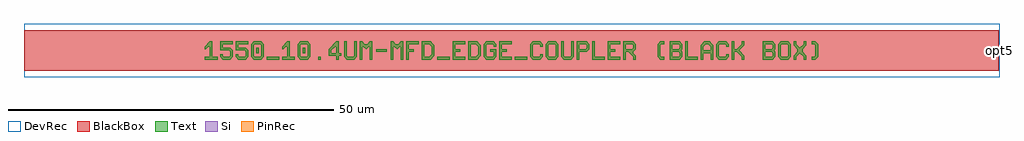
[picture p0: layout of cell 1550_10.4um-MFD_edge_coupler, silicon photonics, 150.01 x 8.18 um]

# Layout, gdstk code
import gdstk
lib = gdstk.Library(unit=1e-6, precision=1e-09)
def R(c, l, rs):  # rectangles x0, y0, x1, y1
    for r in rs: c.add(gdstk.rectangle(r[:2], r[2:], *l))
def P(c, l, *ps):  # polygons
    for p in ps: c.add(gdstk.Polygon(p, *l))
Si = (1, 0)
PinRec = (1, 10)
Text = (10, 0)
DevRec = (68, 0)
BlackBox = (998, 0)

text = lib.new_cell('TEXT')
R(text, Text, [(9.528,0,11.513,0.397), (17.468,0,17.865,0.397), (35.73,0,37.715,0.397), (47.64,0,49.625,0.397), (7.94,0.993,8.337,1.787), (15.086,0.993,15.483,1.787), (26.401,1.191,27.989,1.588)])
P(text, Text, [(0,0),(0,0.397),(0.794,0.397),(0.794,1.985),(0.596,1.985),(0.199,1.588),(0,1.588),(0,1.985),(0.794,2.779),(1.191,2.779),(1.191,0.397),(1.985,0.397),(1.985,0)],
  [(2.779,0),(2.382,0.397),(2.382,0.794),(2.779,0.794),(2.779,0.596),(2.978,0.397),(3.772,0.397),(3.97,0.596),(3.97,1.191),(3.772,1.39),(2.382,1.39),(2.382,2.779),(4.367,2.779),(4.367,2.382),(2.779,2.382),(2.779,1.787),(3.97,1.787),(4.367,1.39),(4.367,0.397),(3.97,0)],
  [(5.161,0),(4.764,0.397),(4.764,0.794),(5.161,0.794),(5.161,0.596),(5.36,0.397),(6.154,0.397),(6.352,0.596),(6.352,1.191),(6.154,1.39),(4.764,1.39),(4.764,2.779),(6.749,2.779),(6.749,2.382),(5.161,2.382),(5.161,1.787),(6.352,1.787),(6.749,1.39),(6.749,0.397),(6.352,0)],
  [(7.543,0),(7.146,0.397),(7.146,2.382),(7.543,2.779),(8.734,2.779),(9.131,2.382),(7.742,2.382),(7.543,2.184),(7.543,0.596),(7.742,0.397),(8.536,0.397),(8.734,0.596),(8.734,2.184),(8.536,2.382),(9.131,2.382),(9.131,0.397),(8.734,0)],
  [(11.91,0),(11.91,0.397),(12.704,0.397),(12.704,1.985),(12.506,1.985),(12.109,1.588),(11.91,1.588),(11.91,1.985),(12.704,2.779),(13.101,2.779),(13.101,0.397),(13.895,0.397),(13.895,0)],
  [(14.689,0),(14.292,0.397),(14.292,2.382),(14.689,2.779),(15.88,2.779),(16.277,2.382),(14.888,2.382),(14.689,2.184),(14.689,0.596),(14.888,0.397),(15.682,0.397),(15.88,0.596),(15.88,2.184),(15.682,2.382),(16.277,2.382),(16.277,0.397),(15.88,0)],
  [(20.247,0),(20.247,0.596),(19.056,0.596),(19.056,0.993),(20.247,0.993),(20.247,1.985),(20.049,1.985),(19.453,1.39),(19.453,0.993),(19.056,0.993),(19.056,1.588),(20.247,2.779),(20.644,2.779),(20.644,0.993),(21.041,0.993),(21.041,0.596),(20.644,0.596),(20.644,0)],
  [(21.835,0),(21.438,0.397),(21.438,2.779),(21.835,2.779),(21.835,0.596),(22.034,0.397),(22.828,0.397),(23.026,0.596),(23.026,2.779),(23.423,2.779),(23.423,0.397),(23.026,0)],
  [(23.82,0),(23.82,2.779),(24.217,2.779),(24.614,2.382),(25.011,2.382),(25.408,2.779),(25.805,2.779),(25.805,0),(25.408,0),(25.408,1.985),(25.21,1.985),(24.813,1.588),(24.416,1.985),(24.217,1.985),(24.217,0)],
  [(28.584,0),(28.584,2.779),(28.981,2.779),(29.378,2.382),(29.775,2.382),(30.172,2.779),(30.569,2.779),(30.569,0),(30.172,0),(30.172,1.985),(29.974,1.985),(29.577,1.588),(29.18,1.985),(28.981,1.985),(28.981,0)],
  [(30.966,0),(30.966,2.779),(32.951,2.779),(32.951,2.382),(31.363,2.382),(31.363,1.588),(32.157,1.588),(32.157,1.191),(31.363,1.191),(31.363,0)],
  [(33.348,0),(33.348,2.779),(34.738,2.779),(35.135,2.382),(33.745,2.382),(33.745,0.397),(34.539,0.397),(34.936,0.794),(34.936,1.985),(34.539,2.382),(35.135,2.382),(35.333,2.184),(35.333,0.596),(34.738,0)],
  [(38.112,0),(38.112,2.779),(40.097,2.779),(40.097,2.382),(38.509,2.382),(38.509,1.588),(39.303,1.588),(39.303,1.191),(38.509,1.191),(38.509,0.397),(40.097,0.397),(40.097,0)],
  [(40.494,0),(40.494,2.779),(41.884,2.779),(42.281,2.382),(40.891,2.382),(40.891,0.397),(41.685,0.397),(42.082,0.794),(42.082,1.985),(41.685,2.382),(42.281,2.382),(42.479,2.184),(42.479,0.596),(41.884,0)],
  [(43.273,0),(42.876,0.397),(42.876,2.382),(43.273,2.779),(44.464,2.779),(44.861,2.382),(44.861,1.985),(44.464,1.985),(44.464,2.184),(44.266,2.382),(43.472,2.382),(43.273,2.184),(43.273,0.596),(43.472,0.397),(44.266,0.397),(44.464,0.596),(44.464,1.191),(43.869,1.191),(43.869,1.588),(44.861,1.588),(44.861,0.397),(44.464,0)],
  [(45.258,0),(45.258,2.779),(47.243,2.779),(47.243,2.382),(45.655,2.382),(45.655,1.588),(46.449,1.588),(46.449,1.191),(45.655,1.191),(45.655,0.397),(47.243,0.397),(47.243,0)],
  [(50.419,0),(50.022,0.397),(50.022,2.382),(50.419,2.779),(51.61,2.779),(52.007,2.382),(52.007,1.985),(51.61,1.985),(51.61,2.184),(51.412,2.382),(50.618,2.382),(50.419,2.184),(50.419,0.596),(50.618,0.397),(51.412,0.397),(51.61,0.596),(51.61,0.794),(52.007,0.794),(52.007,0.397),(51.61,0)],
  [(52.801,0),(52.404,0.397),(52.404,2.382),(52.801,2.779),(53.992,2.779),(54.389,2.382),(54.389,1.39),(53.992,1.39),(53.992,2.184),(53.794,2.382),(53,2.382),(52.801,2.184),(52.801,0.596),(53,0.397),(53.794,0.397),(53.992,0.596),(53.992,1.39),(54.389,1.39),(54.389,0.397),(53.992,0)],
  [(55.183,0),(54.786,0.397),(54.786,2.779),(55.183,2.779),(55.183,0.596),(55.382,0.397),(56.176,0.397),(56.374,0.596),(56.374,2.779),(56.771,2.779),(56.771,0.397),(56.374,0)],
  [(57.168,0),(57.168,2.779),(58.756,2.779),(59.153,2.382),(59.153,1.588),(58.756,1.191),(57.565,1.191),(57.565,1.588),(58.558,1.588),(58.756,1.787),(58.756,2.184),(58.558,2.382),(57.565,2.382),(57.565,0)],
  [(59.55,0),(59.55,2.779),(59.947,2.779),(59.947,0.397),(61.535,0.397),(61.535,0)],
  [(61.932,0),(61.932,2.779),(63.917,2.779),(63.917,2.382),(62.329,2.382),(62.329,1.588),(63.123,1.588),(63.123,1.191),(62.329,1.191),(62.329,0.397),(63.917,0.397),(63.917,0)],
  [(64.314,0),(64.314,2.779),(65.902,2.779),(66.299,2.382),(64.711,2.382),(64.711,1.588),(65.704,1.588),(65.902,1.787),(65.902,2.184),(65.704,2.382),(66.299,2.382),(66.299,1.588),(65.902,1.191),(65.902,0.993),(66.299,0.596),(66.299,0),(65.902,0),(65.902,0.397),(65.108,1.191),(64.711,1.191),(64.711,0)],
  [(70.071,0),(69.674,0.397),(69.674,2.382),(70.071,2.779),(70.666,2.779),(70.666,2.382),(70.269,2.382),(70.071,2.184),(70.071,0.596),(70.269,0.397),(70.666,0.397),(70.666,0)],
  [(71.46,0),(71.46,2.779),(73.048,2.779),(73.445,2.382),(71.857,2.382),(71.857,1.588),(72.85,1.588),(73.048,1.787),(73.048,2.184),(72.85,2.382),(73.445,2.382),(73.445,1.588),(73.247,1.39),(73.445,1.191),(71.857,1.191),(71.857,0.397),(72.85,0.397),(73.048,0.596),(73.048,0.993),(72.85,1.191),(73.445,1.191),(73.445,0.397),(73.048,0)],
  [(73.842,0),(73.842,2.779),(74.239,2.779),(74.239,0.397),(75.827,0.397),(75.827,0)],
  [(76.224,0),(76.224,2.184),(76.82,2.779),(77.614,2.779),(78.011,2.382),(77.018,2.382),(76.621,1.985),(76.621,1.39),(77.812,1.39),(77.812,1.985),(77.415,2.382),(78.011,2.382),(78.209,2.184),(78.209,0),(77.812,0),(77.812,0.993),(76.621,0.993),(76.621,0)],
  [(79.003,0),(78.606,0.397),(78.606,2.382),(79.003,2.779),(80.194,2.779),(80.591,2.382),(80.591,1.985),(80.194,1.985),(80.194,2.184),(79.996,2.382),(79.202,2.382),(79.003,2.184),(79.003,0.596),(79.202,0.397),(79.996,0.397),(80.194,0.596),(80.194,0.794),(80.591,0.794),(80.591,0.397),(80.194,0)],
  [(80.988,0),(80.988,2.779),(81.385,2.779),(81.385,1.588),(81.782,1.588),(82.576,2.382),(82.576,2.779),(82.973,2.779),(82.973,2.184),(82.179,1.39),(82.973,0.596),(82.973,0),(82.576,0),(82.576,0.397),(81.782,1.191),(81.385,1.191),(81.385,0)],
  [(85.752,0),(85.752,2.779),(87.34,2.779),(87.737,2.382),(86.149,2.382),(86.149,1.588),(87.142,1.588),(87.34,1.787),(87.34,2.184),(87.142,2.382),(87.737,2.382),(87.737,1.588),(87.539,1.39),(87.737,1.191),(86.149,1.191),(86.149,0.397),(87.142,0.397),(87.34,0.596),(87.34,0.993),(87.142,1.191),(87.737,1.191),(87.737,0.397),(87.34,0)],
  [(88.531,0),(88.134,0.397),(88.134,2.382),(88.531,2.779),(89.722,2.779),(90.119,2.382),(90.119,1.39),(89.722,1.39),(89.722,2.184),(89.524,2.382),(88.73,2.382),(88.531,2.184),(88.531,0.596),(88.73,0.397),(89.524,0.397),(89.722,0.596),(89.722,1.39),(90.119,1.39),(90.119,0.397),(89.722,0)],
  [(90.516,0),(90.516,0.596),(91.112,1.191),(91.112,1.588),(90.516,2.184),(90.516,2.779),(90.913,2.779),(90.913,2.382),(91.509,1.787),(92.104,2.382),(92.104,2.779),(92.501,2.779),(92.501,2.184),(91.906,1.588),(91.906,1.191),(92.501,0.596),(92.501,0),(92.104,0),(92.104,0.397),(91.509,0.993),(90.913,0.397),(90.913,0)],
  [(93.295,0),(93.295,0.397),(93.692,0.397),(93.891,0.596),(93.891,2.184),(93.692,2.382),(93.295,2.382),(93.295,2.779),(93.891,2.779),(94.288,2.382),(94.288,0.397),(93.891,0)])

c_1550_10_4um_mfd_edge_cou = lib.new_cell('1550_10.4um-MFD_edge_coupler')
R(c_1550_10_4um_mfd_edge_cou, Si, [(54.8,-0.25,55,0.25)])
R(c_1550_10_4um_mfd_edge_cou, DevRec, [(-95,-4.088,55,4.088)])
R(c_1550_10_4um_mfd_edge_cou, BlackBox, [(-95,-3.088,54.8,3.088)])
c_1550_10_4um_mfd_edge_cou.add(gdstk.FlexPath([(54.99,0),(55.01,0)], 0.5, ends="flush", simple_path=True, layer=1, datatype=10))  # PinRec
c_1550_10_4um_mfd_edge_cou.add(gdstk.Reference(text, (-67.244,-1.389)))
c_1550_10_4um_mfd_edge_cou.add(gdstk.Label('opt5', (55,0), layer=1, texttype=10))

lib.write_gds('1550_10.4um-MFD_edge_coupler.gds')
